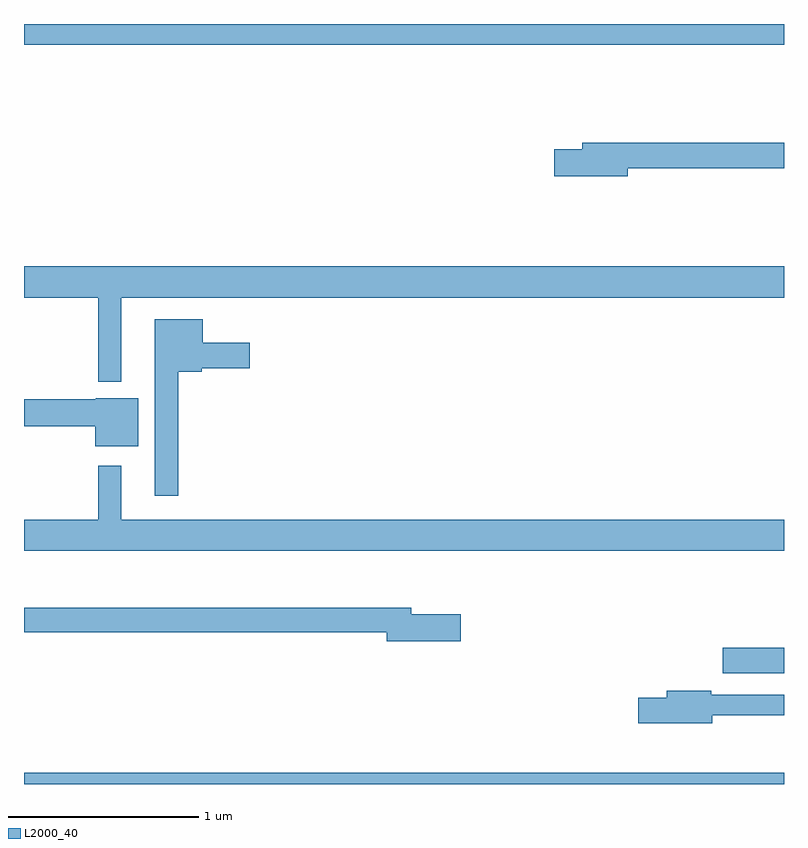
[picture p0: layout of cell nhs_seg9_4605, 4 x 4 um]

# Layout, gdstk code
import gdstk
lib = gdstk.Library(unit=1e-6, precision=1e-09)
def R(c, l, rs):  # rectangles x0, y0, x1, y1
    for r in rs: c.add(gdstk.rectangle(r[:2], r[2:], *l))
def P(c, l, *ps):  # polygons
    for p in ps: c.add(gdstk.Polygon(p, *l))
L2000_40 = (2000, 40)

nhs_seg9_4605 = lib.new_cell('nhs_seg9_4605')
R(nhs_seg9_4605, L2000_40, [(375,1220.5,379,1220.56), (378.678,1221.083,379,1221.218), (375,1224.392,379,1224.5)])
P(nhs_seg9_4605, L2000_40, [(378.178,1223.74),(379,1223.74),(379,1223.876),(377.939,1223.876),(377.939,1223.84),(377.79,1223.84),(377.79,1223.698),(378.178,1223.698)],
  [(375.511,1223.06),(379,1223.06),(379,1223.224),(375,1223.224),(375,1223.06),(375.39,1223.06),(375.39,1222.616),(375.511,1222.616)],
  [(375.811,1222.67),(375.936,1222.67),(375.936,1222.688),(376.189,1222.688),(376.189,1222.822),(375.94,1222.822),(375.94,1222.945),(375.689,1222.945),(375.689,1222.017),(375.811,1222.017)],
  [(375.601,1222.531),(375.378,1222.531),(375.378,1222.526),(375,1222.526),(375,1222.384),(375.374,1222.384),(375.374,1222.277),(375.601,1222.277)],
  [(379,1221.892),(375.511,1221.892),(375.511,1222.174),(375.39,1222.174),(375.39,1221.892),(375,1221.892),(375,1221.728),(379,1221.728)],
  [(377.299,1221.393),(377.038,1221.393),(377.038,1221.427),(375,1221.427),(375,1221.298),(376.91,1221.298),(376.91,1221.251),(377.299,1221.251)],
  [(378.622,1220.862),(379,1220.862),(379,1220.97),(378.618,1220.97),(378.618,1220.99),(378.383,1220.99),(378.383,1220.954),(378.234,1220.954),(378.234,1220.819),(378.622,1220.819)])

lib.write_gds('nhs_seg9_4605.gds')
